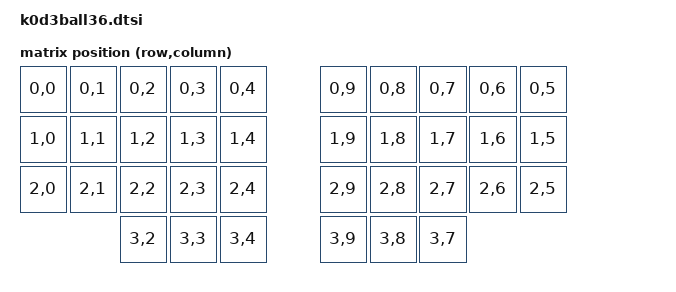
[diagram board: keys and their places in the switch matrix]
/*
 * k0d3ball36: 36-key wireless split with a 25 mm trackball.
 *
 * Shared devicetree for both halves. Pin assignments follow
 * docs/01-design-spec.md section 2 (Pro Micro numbering of the nice!nano v2).
 *
 * The PCB is reversible and the controller sits in a plain 2x12 through-hole
 * footprint, so flipping the board for the left half swaps the two controller
 * pin columns. The copper is identical, but the left half therefore sees
 * different controller pins on the same matrix lines. All kscan GPIOs live in
 * the per-side overlays for that reason.
 *
 * The thumb keys live on row 3, columns 2, 3 and 4. Cells (3,0) and (3,1) are empty.
 */

#include <dt-bindings/zmk/matrix_transform.h>
#include "k0d3ball36-layouts.dtsi"

&k0d3ball36_layout {
    transform = <&default_transform>;
    kscan = <&kscan0>;
};

/ {
    chosen {
        zmk,kscan = &kscan0;
        zmk,physical-layout = &k0d3ball36_layout;
    };

    default_transform: keymap_transform_0 {
        compatible = "zmk,matrix-transform";
        columns = <10>;
        rows = <4>;
// | pinky | ring | mid | idx | inner |   | inner | idx | mid | ring | pinky |
        map = <
RC(0,0) RC(0,1) RC(0,2) RC(0,3) RC(0,4)    RC(0,9) RC(0,8) RC(0,7) RC(0,6) RC(0,5)
RC(1,0) RC(1,1) RC(1,2) RC(1,3) RC(1,4)    RC(1,9) RC(1,8) RC(1,7) RC(1,6) RC(1,5)
RC(2,0) RC(2,1) RC(2,2) RC(2,3) RC(2,4)    RC(2,9) RC(2,8) RC(2,7) RC(2,6) RC(2,5)
                RC(3,2) RC(3,3) RC(3,4)    RC(3,9) RC(3,8) RC(3,7)
        >;
    };

    kscan0: kscan {
        compatible = "zmk,kscan-gpio-matrix";
        wakeup-source;
        diode-direction = "col2row";
        // row-gpios and col-gpios differ per half (flipped board), see the overlays.
    };

    /*
     * Scaffold for a trackball on the peripheral half (left-ball build or a
     * dongle build). The peripheral points `trackball_split` at its sensor, the
     * central enables `trackball_split_listener`. Unused in the default build.
     */
    split_inputs {
        #address-cells = <1>;
        #size-cells = <0>;

        trackball_split: trackball_split@0 {
            compatible = "zmk,input-split";
            reg = <0>;
            /* enable on both halves for a left-ball build; the peripheral must
             * also set `device = <&trackball>;` */
            status = "disabled";
        };
    };

    trackball_split_listener: trackball_split_listener {
        compatible = "zmk,input-listener";
        status = "disabled";
        device = <&trackball_split>;
    };
};
